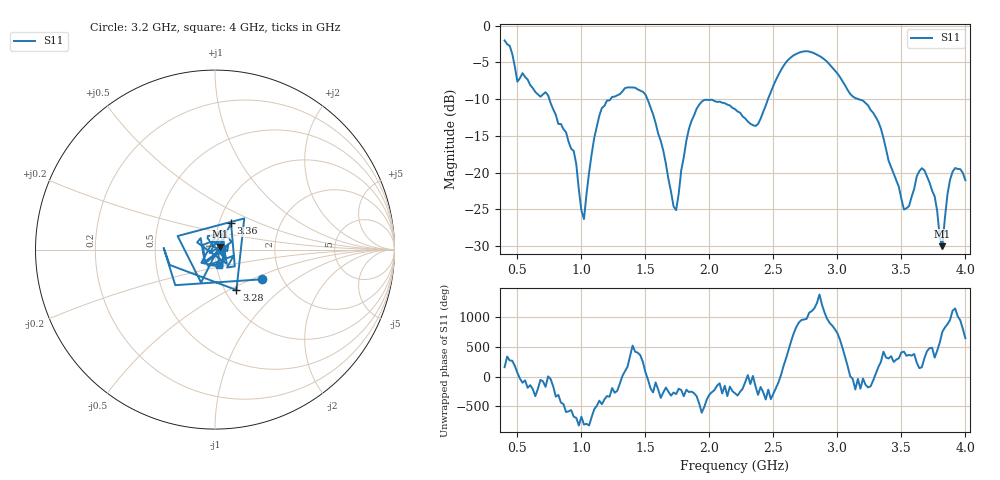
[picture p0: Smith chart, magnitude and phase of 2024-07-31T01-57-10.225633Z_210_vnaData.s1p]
!Created with skrf (http://scikit-rf.org).
# Hz S RI R 50.0
!freq ReS11 ImS11
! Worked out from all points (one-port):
!   181 points, 400 MHz to 4 GHz, reference 50 ohm
!   lowest |S11| = -30.0 dB at 3.82 GHz (marker M1), VSWR 1.07, Z = 52.7 + j1.74 ohm
!   |S11| at or under -10 dB: 749.3 MHz to 1.228 GHz (478.6 MHz wide, 48.4 % of centre); 1.516 GHz to 2.458 GHz (942 MHz wide, 47.4 % of centre); 3.163 GHz to end of sweep
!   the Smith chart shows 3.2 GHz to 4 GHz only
!   S11 on the Smith chart (normalised r, x): 3.2 GHz: 1.58, -0.58; 3.28 GHz: 1.13, -0.55; 3.36 GHz: 1.14, +0.34; 4 GHz: 1.03, -0.18
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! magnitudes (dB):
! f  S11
! 400 MHz  -2.0
! 500 MHz  -7.6
! 720 MHz  -9.1
! 860 MHz  -14.1
! 940 MHz  -17.1
! 1.02 GHz  -26.3
! 1.14 GHz  -12.2
! 1.3 GHz  -9.3
! 1.5 GHz  -9.4
! 1.72 GHz  -24.6
! 1.76 GHz  -22.9
! 1.84 GHz  -14.1
! 1.92 GHz  -10.8
! 2.2 GHz  -11.4
! 2.38 GHz  -13.4
! 2.66 GHz  -4.0
! 2.88 GHz  -4.4
! 3.1 GHz  -9.3
! 3.2 GHz  -10.2
! 3.28 GHz  -11.9
! 3.36 GHz  -15.3
! 3.52 GHz  -25.0
! 3.56 GHz  -24.5
! 3.68 GHz  -19.7
! 3.76 GHz  -23.2
! 3.82 GHz  -30.0
! 3.9 GHz  -19.9
! 4 GHz  -21.0
